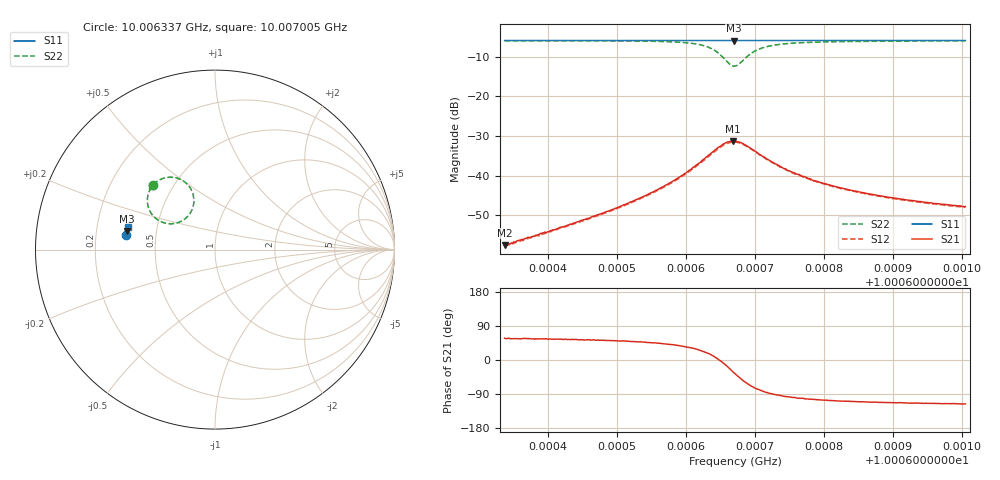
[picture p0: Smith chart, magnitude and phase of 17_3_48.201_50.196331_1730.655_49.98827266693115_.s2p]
#  HZ  S  RI  R  50.00
! Rohde & Schwarz Vector Network Analyzer
! Rohde-Schwarz,ZNB20-2Port,1311601062101988,3.16
! Created: UTC 3/20/2024, 11:36:48 AM
! freq[Hz]  re:S11  im:S11  re:S21  im:S21  re:S12  im:S12  re:S22  im:S22
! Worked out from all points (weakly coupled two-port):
!   401 points, 10.006337 GHz to 10.007005 GHz, reference 50 ohm
!   highest |S21| = -31.29 dB at 10.006668 GHz (marker M1); lowest = -57.5 dB at 10.006337 GHz (marker M2)
!   lowest |S11| = -6.0 dB at 10.006669 GHz (marker M3), VSWR 3.00, Z = 16.8 + j4.68 ohm
!   |S11| at or under -10 dB: nowhere
!   |S22| runs from -12.4 to -6.0 dB; largest |S21 - S12| = 0.002
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1.00063372e10  -0.4952 0.0839  0.000723 0.00113  0.000651 0.00112  -0.3448 0.3624
1.00063455e10  -0.4951 0.0845  0.000774 0.00115  0.000709 0.0012  -0.3441 0.3632
1.00064491e10  -0.4941 0.0913  0.00163 0.00221  0.00148 0.00222  -0.3293 0.3757
1.00064991e10  -0.4935 0.0946  0.00249 0.00302  0.00228 0.00305  -0.3169 0.3839
1.00065609e10  -0.4926 0.0987  0.00487 0.00475  0.00452 0.00485  -0.2876 0.3972
1.0006596e10  -0.4921 0.1013  0.00829 0.00605  0.00778 0.00628  -0.2513 0.4034
1.00066294e10  -0.4908 0.1037  0.0161 0.00567  0.0152 0.00632  -0.1791 0.384
1.00066411e10  -0.49 0.1041  0.0205 0.00326  0.0194 0.00414  -0.1442 0.3524
1.00066527e10  -0.4894 0.1045  0.0244 -0.00253  0.0237 -0.00102  -0.119 0.292
1.00066628e10  -0.4891 0.1043  0.0248 -0.0101  0.0247 -0.00803  -0.128 0.2223
1.00066678e10  -0.4891 0.1042  0.0235 -0.0139  0.0236 -0.012  -0.1482 0.1897
1.00066694e10  -0.489 0.1043  0.0226 -0.015  0.0231 -0.0131  -0.1569 0.1803
1.00066711e10  -0.4891 0.1041  0.0219 -0.016  0.0224 -0.0142  -0.1668 0.1718
1.00066761e10  -0.4894 0.1042  0.019 -0.0186  0.0197 -0.0168  -0.1992 0.1531
1.00066861e10  -0.4898 0.1044  0.0126 -0.0208  0.0135 -0.0196  -0.2651 0.145
1.00066978e10  -0.4902 0.1051  0.00646 -0.02  0.00753 -0.0193  -0.3203 0.1663
1.00067129e10  -0.4906 0.1063  0.00202 -0.0172  0.00294 -0.0168  -0.3567 0.2041
1.00067446e10  -0.4908 0.1087  -0.00132 -0.0121  -0.000815 -0.0119  -0.3764 0.2615
1.0006783e10  -0.4904 0.1115  -0.00206 -0.00855  -0.00167 -0.00859  -0.3746 0.2971
1.00068381e10  -0.4898 0.1151  -0.00217 -0.00622  -0.00183 -0.00621  -0.3671 0.3228
1.00068948e10  -0.4891 0.119  -0.00201 -0.00494  -0.00178 -0.00492  -0.3602 0.3372
1.0007005e10  -0.4874 0.1259  -0.00178 -0.00368  -0.00155 -0.00368  -0.3498 0.3535
